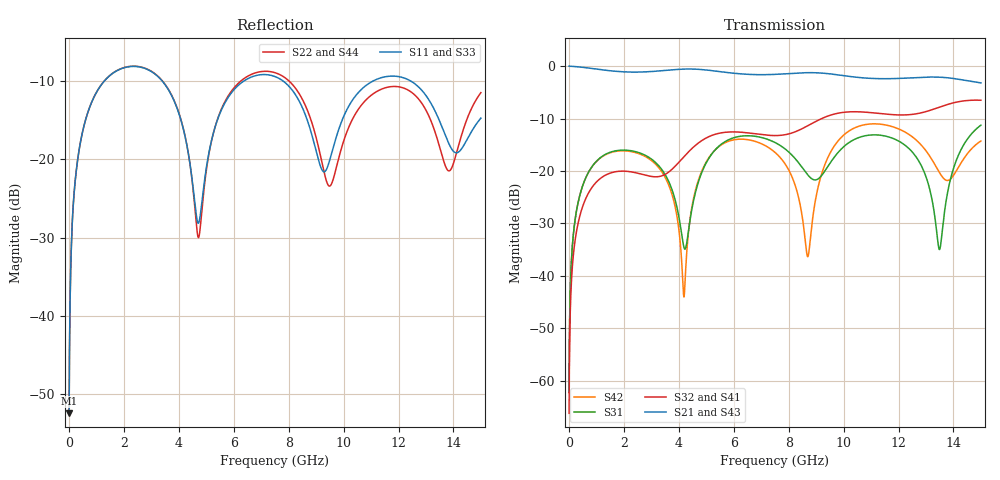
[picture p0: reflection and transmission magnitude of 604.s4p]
! Created with skrf 1.8.0 (http://scikit-rf.org).
# GHz S RI R 50.0
!freq ReS11 ImS11 ReS12 ImS12 ReS13 ImS13
! ReS14 ImS14
! ReS21 ImS21 ReS22 ImS22 ReS23 ImS23
! ReS24 ImS24
! ReS31 ImS31 ReS32 ImS32 ReS33 ImS33
! ReS34 ImS34
! ReS41 ImS41 ReS42 ImS42 ReS43 ImS43
! ReS44 ImS44
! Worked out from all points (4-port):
!   2499 points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, 5 MHz to 15 GHz, reference 50 ohm
!   strongest paths, dB at 5 MHz, 3.476 GHz, 7.19 GHz, 11.1 GHz, 15 GHz:
!     S21: 0.0, -0.8, -1.6, -2.4, -3.2
!     S43: 0.0, -0.8, -1.6, -2.4, -3.2
!     S32: -66.2, -20.7, -13.2, -8.9, -6.5
!     S41: -66.2, -20.7, -13.2, -8.9, -6.5
!     S31: -62.2, -20.5, -13.9, -13.1, -11.3
!     S42: -62.2, -21.0, -15.3, -11.0, -14.3
!   lowest |S11| = -52.4 dB at 5 MHz (marker M1), VSWR 1.00, Z = 50.2 + j0.145 ohm
!   |S11| at or under -10 dB: 3.393 GHz to 6.371 GHz (2.978 GHz wide, 61 % of centre); 7.793 GHz to 11.08 GHz (3.283 GHz wide, 34.8 % of centre); 12.44 GHz to end of sweep (the widest 3 of 4)
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0.005  0.0019 0.00144  0.9981 -0.0037  9.71e-05 0.000773  -9.41e-05 -0.000482
       0.9981 -0.0037  0.0019 0.00144  -9.41e-05 -0.000482  9.7e-05 0.000773
       9.71e-05 0.000773  -9.41e-05 -0.000482  0.0019 0.00144  0.9981 -0.0037
       -9.41e-05 -0.000482  9.7e-05 0.000773  0.9981 -0.0037  0.0019 0.00144
1.3193  0.2657 0.1793  0.5575 -0.7236  0.1301 0.0611  -0.0908 -0.0077
        0.5575 -0.7236  0.2671 0.1784  -0.0908 -0.00772  0.1263 0.0662
        0.1301 0.0611  -0.0908 -0.00772  0.2658 0.1793  0.5574 -0.7236
        -0.0908 -0.0077  0.1263 0.0662  0.5574 -0.7236  0.2671 0.1784
4.189246  0.0814 -0.1256  -0.8478 -0.3966  -0.0165 -0.00858  -0.054 0.1261
          -0.8478 -0.3966  0.0753 -0.1306  -0.0544 0.1259  -0.00613 -0.00151
          -0.0165 -0.00858  -0.0544 0.1259  0.0814 -0.1271  -0.8475 -0.3966
          -0.054 0.1261  -0.00613 -0.00151  -0.8475 -0.3966  0.0765 -0.1315
5.389746  0.1205 0.1268  -0.8221 0.3479  0.1127 0.1218  0.1192 0.1924
          -0.8221 0.3479  0.1167 0.1319  0.1187 0.1929  0.1015 0.1302
          0.1127 0.1218  0.1187 0.1929  0.119 0.1262  -0.8222 0.3481
          0.1192 0.1924  0.1015 0.1302  -0.8222 0.3481  0.1173 0.1301
9.47895  0.0902 0.0346  0.8375 0.1085  -0.048 0.1054  0.0316 -0.3362
         0.8375 0.1085  0.0664 -0.0114  0.033 -0.3362  0.0584 0.1309
         -0.048 0.1054  0.033 -0.3362  0.0903 0.0335  0.8377 0.1061
         0.0316 -0.3362  0.0584 0.1309  0.8377 0.1061  0.0666 -0.0131
13.49312  0.1381 -0.1087  -0.5825 -0.5243  0.0176 0.00284  -0.2581 0.3139
          -0.5825 -0.5243  0.1062 -0.0571  -0.26 0.3121  -0.0659 -0.0706
          0.0176 0.00284  -0.26 0.3121  0.1399 -0.1117  -0.5864 -0.5189
          -0.2581 0.3139  -0.0659 -0.0706  -0.5864 -0.5189  0.1074 -0.0607
15  0.1778 0.0434  -0.6683 0.1786  0.2458 0.1198  0.1931 0.4327
    -0.6683 0.1786  0.2278 0.1378  0.19 0.4329  0.0974 0.1668
    0.2458 0.1198  0.19 0.4329  0.18 0.0384  -0.6661 0.1869
    0.1931 0.4327  0.0974 0.1668  -0.6661 0.1869  0.2269 0.1322
